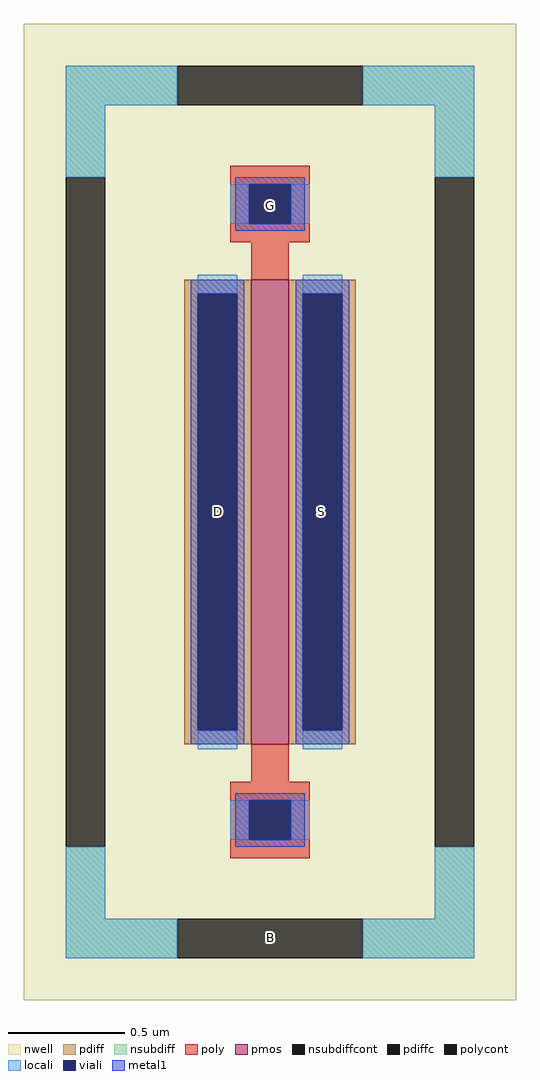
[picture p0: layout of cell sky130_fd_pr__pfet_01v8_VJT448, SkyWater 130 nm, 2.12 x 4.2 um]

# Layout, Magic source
magic
tech sky130A
<< nwell >>
rect -106 -210 106 210
<< pmos >>
rect -8 -100 8 100
<< pdiff >>
rect -37 94 -8 100
rect -37 -94 -31 94
rect -14 -94 -8 94
rect -37 -100 -8 -94
rect 8 94 37 100
rect 8 -94 14 94
rect 31 -94 37 94
rect 8 -100 37 -94
<< pdiffc >>
rect -31 -94 -14 94
rect 14 -94 31 94
<< nsubdiff >>
rect -88 175 -40 192
rect 40 175 88 192
rect -88 144 -71 175
rect 71 144 88 175
rect -88 -175 -71 -144
rect 71 -175 88 -144
rect -88 -192 -40 -175
rect 40 -192 88 -175
<< nsubdiffcont >>
rect -40 175 40 192
rect -88 -144 -71 144
rect 71 -144 88 144
rect -40 -192 40 -175
<< poly >>
rect -17 141 17 149
rect -17 124 -9 141
rect 9 124 17 141
rect -17 116 17 124
rect -8 100 8 116
rect -8 -116 8 -100
rect -17 -124 17 -116
rect -17 -141 -9 -124
rect 9 -141 17 -124
rect -17 -149 17 -141
<< polycont >>
rect -9 124 9 141
rect -9 -141 9 -124
<< locali >>
rect -88 175 -40 192
rect 40 175 88 192
rect -88 144 -71 175
rect 71 144 88 175
rect -17 124 -9 141
rect 9 124 17 141
rect -31 94 -14 102
rect -31 -102 -14 -94
rect 14 94 31 102
rect 14 -102 31 -94
rect -17 -141 -9 -124
rect 9 -141 17 -124
rect -88 -175 -71 -144
rect 71 -175 88 -144
rect -88 -192 -40 -175
rect 40 -192 88 -175
<< viali >>
rect -9 124 9 141
rect -31 -94 -14 94
rect 14 -94 31 94
rect -9 -141 9 -124
<< metal1 >>
rect -15 141 15 144
rect -15 124 -9 141
rect 9 124 15 141
rect -15 121 15 124
rect -34 94 -11 100
rect -34 -94 -31 94
rect -14 -94 -11 94
rect -34 -100 -11 -94
rect 11 94 34 100
rect 11 -94 14 94
rect 31 -94 34 94
rect 11 -100 34 -94
rect -15 -124 15 -121
rect -15 -141 -9 -124
rect 9 -141 15 -124
rect -15 -144 15 -141
<< labels >>
rlabel polycont 0 132 0 132 0 G
rlabel pdiffc -22 0 -22 0 0 D
rlabel pdiffc 22 0 22 0 0 S
rlabel nsubdiffcont 0 -183 0 -183 0 B
<< end >>
